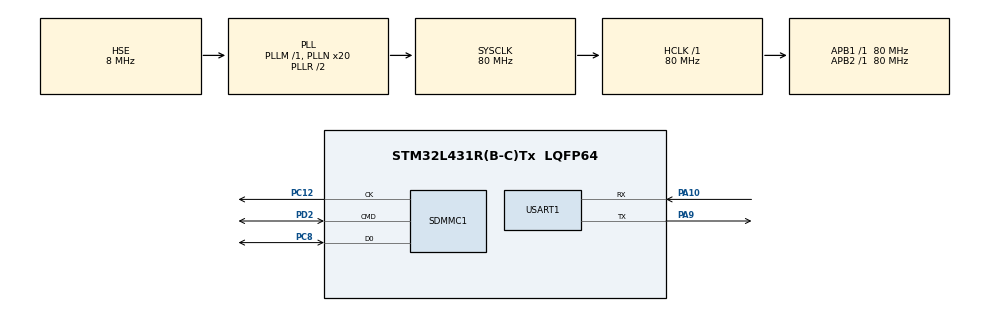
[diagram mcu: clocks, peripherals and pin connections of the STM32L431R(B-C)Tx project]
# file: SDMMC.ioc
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Mcu.Family=STM32L4
Mcu.Name=STM32L431R(B-C)Tx
Mcu.Package=LQFP64
NVIC.PriorityGroup=NVIC_PRIORITYGROUP_4
PA10.Mode=Asynchronous
PA10.Signal=USART1_RX
PA9.Mode=Asynchronous
PA9.Signal=USART1_TX
PC12.Mode=SD_1_bit
PC12.Signal=SDMMC1_CK
PC14-OSC32_IN\ (PC14).Mode=LSE-External-Oscillator
PC14-OSC32_IN\ (PC14).Signal=RCC_OSC32_IN
PC15-OSC32_OUT\ (PC15).Mode=LSE-External-Oscillator
PC15-OSC32_OUT\ (PC15).Signal=RCC_OSC32_OUT
PC8.Mode=SD_1_bit
PC8.Signal=SDMMC1_D0
PD2.Mode=SD_1_bit
PD2.Signal=SDMMC1_CMD
PH0-OSC_IN\ (PH0).Mode=HSE-External-Oscillator
PH0-OSC_IN\ (PH0).Signal=RCC_OSC_IN
PH1-OSC_OUT\ (PH1).Mode=HSE-External-Oscillator
PH1-OSC_OUT\ (PH1).Signal=RCC_OSC_OUT
ProjectManager.HeapSize=0x200
ProjectManager.StackSize=0x400
ProjectManager.TargetToolchain=SW4STM32
RCC.ADCFreq_Value=32000000
RCC.AHBFreq_Value=80000000
RCC.APB1Freq_Value=80000000
RCC.APB1TimFreq_Value=80000000
RCC.APB2Freq_Value=80000000
RCC.APB2TimFreq_Value=80000000
RCC.CortexFreq_Value=80000000
RCC.HCLKFreq_Value=80000000
RCC.HSE_VALUE=8000000
RCC.HSI48_VALUE=48000000
RCC.HSI_VALUE=16000000
RCC.MSI_VALUE=4000000
RCC.PLLN=20
RCC.PLLSourceVirtual=RCC_PLLSOURCE_HSE
RCC.SYSCLKFreq_VALUE=80000000
RCC.SYSCLKSource=RCC_SYSCLKSOURCE_PLLCLK
RCC.VCOOutputFreq_Value=160000000
USART1.VirtualMode-Asynchronous=VM_ASYNC
board=custom

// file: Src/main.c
/* USER CODE BEGIN Header */
/**
  ******************************************************************************
  * @file           : main.c
  * @brief          : Main program body
  ******************************************************************************
  * @attention
  *
  * <h2><center>&copy; Copyright (c) 2019 STMicroelectronics.
  * All rights reserved.</center></h2>
  *
  * This software component is licensed by ST under BSD 3-Clause license,
  * the "License"; You may not use this file except in compliance with the
  * License. You may obtain a copy of the License at:
  *                        opensource.org/licenses/BSD-3-Clause
  *
  ******************************************************************************
  */
/* USER CODE END Header */

#include "main.h"
#include "sdmmc.h"
#include "usart.h"
#include "gpio.h"
#if 1
#include <stdio.h>

int _write(int fd, char *ptr, int len)
{
    HAL_UART_Transmit(&huart1, (uint8_t*)ptr, len, 0xFFFF);
    return len;
}
#endif

void SystemClock_Config(void);

/* USER CODE BEGIN 0 */
uint8_t read_buf[512] = {0};
uint8_t write_buf[512] = {0};
/* USER CODE END 0 */

int main(void)
{
  /* USER CODE BEGIN 1 */
  int sdcard_status = 0;
  HAL_SD_CardCIDTypeDef sdcard_cid;
  int i = 0;

  /* USER CODE END 1 */

  /* MCU Configuration--------------------------------------------------------*/

  /* Reset of all peripherals, Initializes the Flash interface and the Systick. */
  HAL_Init();

  /* Configure the system clock */
  SystemClock_Config();

  /* Initialize all configured peripherals */
  MX_GPIO_Init();
  MX_SDMMC1_SD_Init();
  MX_USART1_UART_Init();
  /* USER CODE BEGIN 2 */
  printf("Micro SD Card Test....\n");

  /*检测SD是否处于正常（处于数据传输模式的传输状态）*/
  sdcard_status = HAL_SD_GetCardState(&hsd1);
  if(sdcard_status == HAL_SD_CARD_TRANSFER){
      printf("SD card init ok!\n");
      //打印SD基本信息
      printf("SD card information!\n");
      printf("CardCapacity: %llu\n",
              ((unsigned long long)hsd1.SdCard.BlockSize*hsd1.SdCard.BlockNbr));
      printf("CardBlockSize: %d\n", hsd1.SdCard.BlockSize);
      printf("CardBlockNum: %d\n", hsd1.SdCard.BlockNbr);
      printf("RCA: %d\n", hsd1.SdCard.RelCardAdd);
      printf("CardType: %d\n", &hsd1.SdCard.CardType);

      //读取并打印SD卡的CID信息
      HAL_SD_GetCardCID(&hsd1, &sdcard_cid);
      printf("ManufacturerID: %d \n", sdcard_cid.ManufacturerID);
  }
  else{
      printf("SD card init fail!\n");
      return 0;
  }

  /*擦除SD卡块*/
  printf("-------------- Block Erase ---------------\n");
  sdcard_status = HAL_SD_Erase(&hsd1,0, 512);
  if(sdcard_status == 0){
      printf("Erase block ok\n");
  }
  else{
      printf("Erase block fail\n");
  }

  //坑 要等得
  while(HAL_SD_GetCardState(&hsd1) != HAL_SD_CARD_TRANSFER){
      printf("sd card statues: %d\n", HAL_SD_GetCardState(&hsd1));
  }

  /*读取未操作之前的数据*/
  printf("--------------- Read SD card block data Test ---------------\n");
  sdcard_status = HAL_SD_ReadBlocks(&hsd1, read_buf, 0, 1, 0xffff);
  if(sdcard_status == 0){
      printf("Read block data ok\n");
      for(i=0; i<512;++i){
          printf("0x%02x ", read_buf[i]);
          if((i+1)%16==0){
              printf("\n");
          }
      }
  }
  else{
      printf("Read block data fail!\n");
  }

  /*填充缓冲区数据*/
  for(i=0;i<512;++i){
      write_buf[i] = i%256;
  }
  /*向SD卡块写入数据*/
  printf("----------- Write SD card block data Test -----------\n");
  sdcard_status = HAL_SD_WriteBlocks(&hsd1, write_buf,0, 1, 0xffff);
  if(sdcard_status == 0){
      printf("Write block data ok\n");
  }
  else{
      printf("Write block data fail!\n");
  }

  //坑 要等得
  while(HAL_SD_GetCardState(&hsd1) != HAL_SD_CARD_TRANSFER){
      printf("sd card statues: %d\n", HAL_SD_GetCardState(&hsd1));
  }

  /*读取操作之后的数据*/
  printf("--------------- Read SD card block data after Write ---------------\n");
  sdcard_status = HAL_SD_ReadBlocks(&hsd1, read_buf, 0, 1, 0xffff);
  if(sdcard_status == 0){
      printf("Read block data ok\n");
      for(i=0; i<512;++i){
          printf("0x%02x ", read_buf[i]);
          if((i+1)%16==0){
              printf("\n");
          }
      }
  }
  else{
      printf("Read block data fail!\n");
  }
  printf("----- Test Over -----\n");

  /* USER CODE END 2 */

  /* Infinite loop */
  while (1)
  {

  }
}

void SystemClock_Config(void)
{
  RCC_OscInitTypeDef RCC_OscInitStruct = {0};
  RCC_ClkInitTypeDef RCC_ClkInitStruct = {0};
  RCC_PeriphCLKInitTypeDef PeriphClkInit = {0};

  /** Initializes the CPU, AHB and APB busses clocks
  */
  RCC_OscInitStruct.OscillatorType = RCC_OSCILLATORTYPE_HSE;
  RCC_OscInitStruct.HSEState = RCC_HSE_ON;
  RCC_OscInitStruct.PLL.PLLState = RCC_PLL_ON;
  RCC_OscInitStruct.PLL.PLLSource = RCC_PLLSOURCE_HSE;
  RCC_OscInitStruct.PLL.PLLM = 1;
  RCC_OscInitStruct.PLL.PLLN = 20;
  RCC_OscInitStruct.PLL.PLLP = RCC_PLLP_DIV7;
  RCC_OscInitStruct.PLL.PLLQ = RCC_PLLQ_DIV2;
  RCC_OscInitStruct.PLL.PLLR = RCC_PLLR_DIV2;
  if (HAL_RCC_OscConfig(&RCC_OscInitStruct) != HAL_OK)
  {
    Error_Handler();
  }
  /** Initializes the CPU, AHB and APB busses clocks
  */
  RCC_ClkInitStruct.ClockType = RCC_CLOCKTYPE_HCLK|RCC_CLOCKTYPE_SYSCLK
                              |RCC_CLOCKTYPE_PCLK1|RCC_CLOCKTYPE_PCLK2;
  RCC_ClkInitStruct.SYSCLKSource = RCC_SYSCLKSOURCE_PLLCLK;
  RCC_ClkInitStruct.AHBCLKDivider = RCC_SYSCLK_DIV1;
  RCC_ClkInitStruct.APB1CLKDivider = RCC_HCLK_DIV1;
  RCC_ClkInitStruct.APB2CLKDivider = RCC_HCLK_DIV1;

  if (HAL_RCC_ClockConfig(&RCC_ClkInitStruct, FLASH_LATENCY_4) != HAL_OK)
  {
    Error_Handler();
  }
  PeriphClkInit.PeriphClockSelection = RCC_PERIPHCLK_USART1|RCC_PERIPHCLK_SDMMC1;
  PeriphClkInit.Usart1ClockSelection = RCC_USART1CLKSOURCE_PCLK2;
  PeriphClkInit.Sdmmc1ClockSelection = RCC_SDMMC1CLKSOURCE_PLLSAI1;
  PeriphClkInit.PLLSAI1.PLLSAI1Source = RCC_PLLSOURCE_HSE;
  PeriphClkInit.PLLSAI1.PLLSAI1M = 1;
  PeriphClkInit.PLLSAI1.PLLSAI1N = 8;
  PeriphClkInit.PLLSAI1.PLLSAI1P = RCC_PLLP_DIV7;
  PeriphClkInit.PLLSAI1.PLLSAI1Q = RCC_PLLQ_DIV2;
  PeriphClkInit.PLLSAI1.PLLSAI1R = RCC_PLLR_DIV2;
  PeriphClkInit.PLLSAI1.PLLSAI1ClockOut = RCC_PLLSAI1_48M2CLK;
  if (HAL_RCCEx_PeriphCLKConfig(&PeriphClkInit) != HAL_OK)
  {
    Error_Handler();
  }
  /** Configure the main internal regulator output voltage
  */
  if (HAL_PWREx_ControlVoltageScaling(PWR_REGULATOR_VOLTAGE_SCALE1) != HAL_OK)
  {
    Error_Handler();
  }
}

void Error_Handler(void)
{
}

/************************ (C) COPYRIGHT STMicroelectronics *****END OF FILE****/
